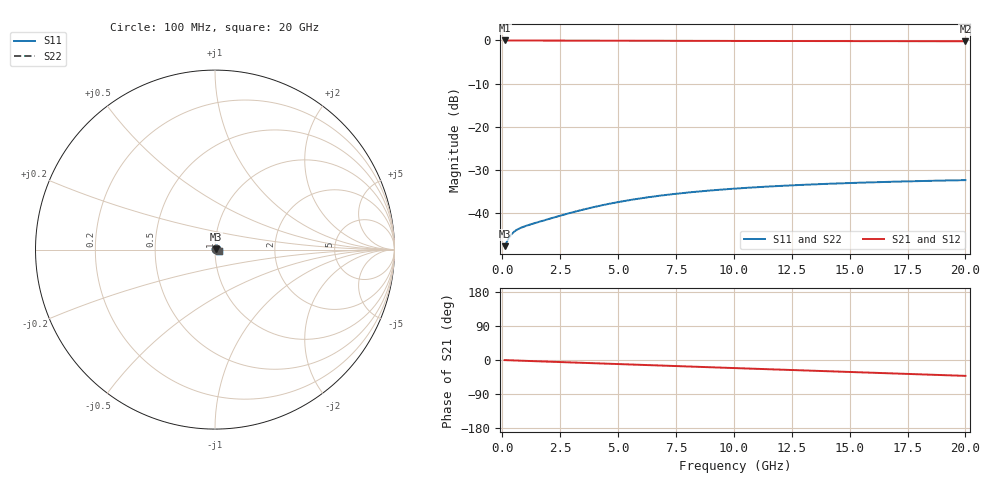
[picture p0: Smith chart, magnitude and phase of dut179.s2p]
! Touchstone file exported from HFSS 2026.1.0
!  File:  C:/ffzhzh/LocalFiles/Ansys_Project_Files/temp_train_TMRDL_179_1782983610_42984.aedt
!  Generated:  05:14:44 PM Jul  2, 2026
!  Design:  TMRDL
!  Project:  temp_train_TMRDL_179_1782983610_42984
! Variables:
!  h_bsmrdl = 2um
!  h_ox = 20um
!  h_rdl = 5um
!  h_sub = 80um
!  h_tmrdl = 3.92um
!  h_tsv = 80um
!  h_via = 3um
!  l_bsmrdl = 300um
!  l_sub = 1156.96um
!  l_tmrdl = 756.96um
!  m_sub = 200um
!  pitch = 21.87um
!  r_tsv = 6um
!  s_tmrdl = 10um
!  w_bsmrdl = 18um
!  w_sub = 500um
!  w_tmrdl = 17.83um
!  x_tsv_center1 = 765.875um
!  x_tsv_center2 = 1083.875um
!  x_tsv_center3 = 1858.665um
!  x_tsv_center4 = 2176.665um
!  x_tsv_center5 = 2951.455um
!  x_tsv_center6 = 3269.455um
# GHz S MA R 50.000000
! Terminal data exported
! Port[1] = TM_RDL1_1_T1
! Port[2] = TM_RDL1_1_T2
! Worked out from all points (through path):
!   200 points, 100 MHz to 20 GHz, reference 50 ohm
!   highest |S21| = -0.04 dB at 100 MHz (marker M1); lowest = -0.2 dB at 20 GHz (marker M2)
!   group delay of S21, straight-line fit = 5.79 ps
!   lowest |S11| = -47.6 dB at 100 MHz (marker M3), VSWR 1.01, Z = 50.4 + j0.0829 ohm
!   |S11| at or under -10 dB: start of sweep to end of sweep
!   |S22| runs from -47.6 to -32.4 dB; largest |S21 - S12| = 3.5e-15
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0.1  0.004149 11.4  0.9959 -0.3  0.9959 -0.3  0.004149 11.4
! Gamma 0 0 0 0
! Port Impedance 50 0 50 0
0.2  0.00469 18.0  0.9956 -0.5  0.9956 -0.5  0.004691 18.0
0.3  0.005249 20.7  0.9951 -0.7  0.9951 -0.7  0.005249 20.7
0.4  0.005711 21.4  0.9947 -1.0  0.9947 -1.0  0.00571 21.4
0.5  0.006068 21.6  0.9944 -1.2  0.9944 -1.2  0.006067 21.6
0.6  0.006347 21.6  0.9941 -1.4  0.9941 -1.4  0.006346 21.6
0.7  0.006573 21.7  0.9939 -1.6  0.9939 -1.6  0.006571 21.7
1  0.007087 22.4  0.9935 -2.2  0.9935 -2.2  0.007086 22.4
1.5  0.007805 24.7  0.9931 -3.3  0.9931 -3.3  0.007803 24.7
2.6  0.009507 28.4  0.9921 -5.7  0.9921 -5.7  0.009507 28.4
3.5  0.01101 29.0  0.9911 -7.6  0.9911 -7.6  0.01101 29.0
4.3  0.01233 28.1  0.9901 -9.3  0.9901 -9.3  0.01233 28.1
5.1  0.01358 26.3  0.9891 -11.0  0.9891 -11.0  0.01358 26.3
5.9  0.01473 24.1  0.9881 -12.7  0.9881 -12.7  0.01473 24.1
6.8  0.01592 21.2  0.9869 -14.6  0.9869 -14.6  0.01592 21.2
7.5  0.01675 18.8  0.986 -16.1  0.986 -16.1  0.01675 18.8
8.3  0.01762 16.0  0.9851 -17.7  0.9851 -17.7  0.01762 16.0
10.1  0.01928 9.7  0.9831 -21.5  0.9831 -21.5  0.01927 9.7
11.7  0.02046 4.2  0.9815 -24.8  0.9815 -24.8  0.02046 4.2
13.4  0.0215 -1.6  0.9799 -28.3  0.9799 -28.3  0.0215 -1.6
16.7  0.02304 -12.2  0.9773 -35.1  0.9773 -35.1  0.02303 -12.2
20  0.02411 -22.5  0.975 -41.9  0.975 -41.9  0.0241 -22.5
